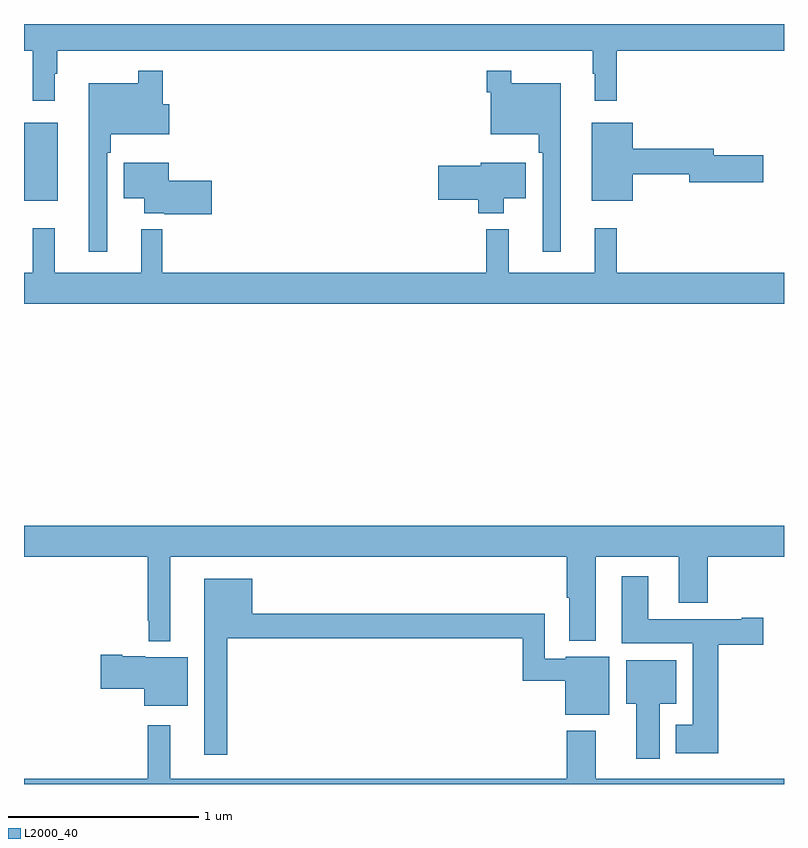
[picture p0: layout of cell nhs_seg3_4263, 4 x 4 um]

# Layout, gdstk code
import gdstk
lib = gdstk.Library(unit=1e-6, precision=1e-09)
def R(c, l, rs):  # rectangles x0, y0, x1, y1
    for r in rs: c.add(gdstk.rectangle(r[:2], r[2:], *l))
def P(c, l, *ps):  # polygons
    for p in ps: c.add(gdstk.Polygon(p, *l))
L2000_40 = (2000, 40)

nhs_seg3_4263 = lib.new_cell('nhs_seg3_4263')
R(nhs_seg3_4263, L2000_40, [(337,689.471,337.177,689.881)])
P(nhs_seg3_4263, L2000_40, [(337.162,690.137),(337.174,690.137),(337.174,690.26),(339.993,690.26),(339.993,690.137),(340.004,690.137),(340.004,689.997),(340.121,689.997),(340.121,690.26),(341,690.26),(341,690.4),(337,690.4),(337,690.26),(337.045,690.26),(337.045,689.997),(337.162,689.997)],
  [(339.826,690.088),(339.565,690.088),(339.565,690.154),(339.436,690.154),(339.436,690.041),(339.456,690.041),(339.456,689.819),(339.709,689.819),(339.709,689.723),(339.729,689.723),(339.729,689.202),(339.826,689.202)],
  [(337.437,689.723),(337.457,689.723),(337.457,689.819),(337.765,689.819),(337.765,689.977),(337.73,689.977),(337.73,690.154),(337.602,690.154),(337.602,690.088),(337.34,690.088),(337.34,689.202),(337.437,689.202)],
  [(340.204,689.608),(340.502,689.608),(340.502,689.566),(340.891,689.566),(340.891,689.708),(340.63,689.708),(340.63,689.744),(340.204,689.744),(340.204,689.881),(339.989,689.881),(339.989,689.471),(340.204,689.471)],
  [(339.526,689.483),(339.64,689.483),(339.64,689.671),(339.404,689.671),(339.404,689.654),(339.18,689.654),(339.18,689.476),(339.392,689.476),(339.392,689.405),(339.526,689.405)],
  [(337.987,689.576),(337.762,689.576),(337.762,689.671),(337.526,689.671),(337.526,689.483),(337.634,689.483),(337.634,689.405),(337.738,689.405),(337.738,689.4),(337.987,689.4)],
  [(341,689.092),(340.121,689.092),(340.121,689.326),(340.004,689.326),(340.004,689.092),(339.551,689.092),(339.551,689.32),(339.433,689.32),(339.433,689.092),(337.728,689.092),(337.728,689.32),(337.616,689.32),(337.616,689.092),(337.163,689.092),(337.163,689.326),(337.045,689.326),(337.045,689.092),(337,689.092),(337,688.928),(341,688.928)],
  [(337.771,687.596),(339.857,687.596),(339.857,687.379),(339.869,687.379),(339.869,687.155),(340.009,687.155),(340.009,687.596),(340.445,687.596),(340.445,687.353),(340.598,687.353),(340.598,687.596),(341,687.596),(341,687.76),(337,687.76),(337,687.596),(337.65,687.596),(337.65,687.259),(337.657,687.259),(337.657,687.152),(337.771,687.152)],
  [(340.655,687.134),(340.891,687.134),(340.891,687.276),(340.778,687.276),(340.778,687.268),(340.285,687.268),(340.285,687.493),(340.145,687.493),(340.145,687.14),(340.52,687.14),(340.52,686.713),(340.43,686.713),(340.43,686.561),(340.655,686.561)],
  [(338.071,687.166),(339.625,687.166),(339.625,686.944),(339.848,686.944),(339.848,686.765),(340.081,686.765),(340.081,687.07),(339.852,687.07),(339.852,687.06),(339.741,687.06),(339.741,687.295),(338.2,687.295),(338.2,687.481),(337.949,687.481),(337.949,686.553),(338.071,686.553)],
  [(337.861,687.067),(337.638,687.067),(337.638,687.073),(337.516,687.073),(337.516,687.08),(337.404,687.08),(337.404,686.902),(337.634,686.902),(337.634,686.813),(337.861,686.813)],
  [(340.345,686.822),(340.432,686.822),(340.432,687.052),(340.169,687.052),(340.169,686.822),(340.223,686.822),(340.223,686.532),(340.345,686.532)],
  [(341,686.428),(340.009,686.428),(340.009,686.68),(339.857,686.68),(339.857,686.428),(337.771,686.428),(337.771,686.71),(337.65,686.71),(337.65,686.428),(337,686.428),(337,686.4),(341,686.4)])

lib.write_gds('nhs_seg3_4263.gds')
